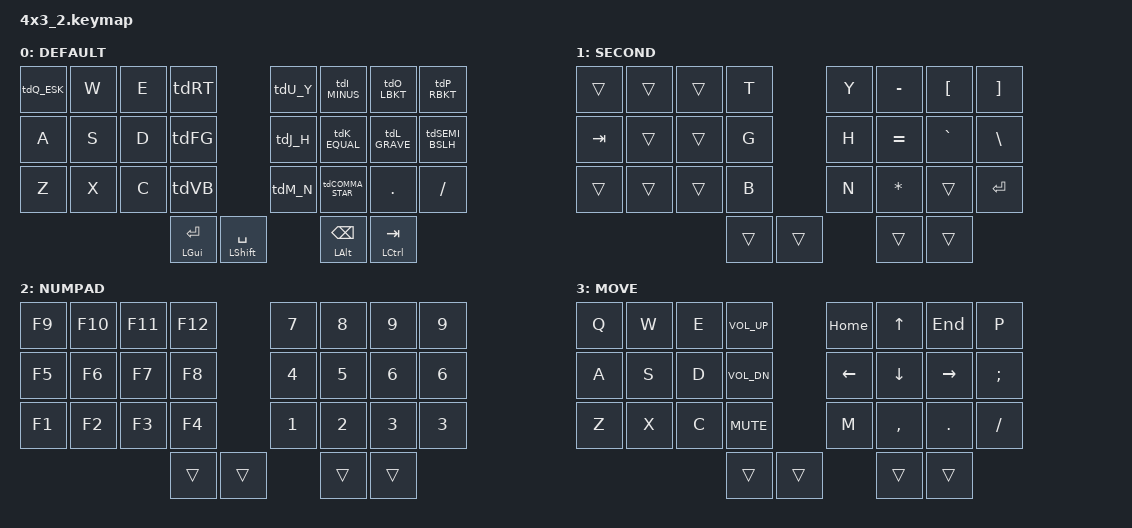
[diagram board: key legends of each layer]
#include <behaviors.dtsi>
#include <dt-bindings/zmk/keys.h>

#define DEFAULT 0
#define SECOND  1
#define NUMPAD  2
#define MOVE    3
#define TAPPING_TERM_MS 250

/ {
    behaviors {
        td0: tap_dance_0 {
            compatible = "zmk,behavior-tap-dance";
            #binding-cells = <0>;
            tapping-term-ms = <TAPPING_TERM_MS>;
            bindings = <&kp J>, <&kp ESCAPE>;
        };
        td1: tap_dance_1 {
            compatible = "zmk,behavior-tap-dance";
            #binding-cells = <0>;
            tapping-term-ms = <TAPPING_TERM_MS>;
            bindings = <&mt LGUI SPACE>, <&lt MOVE SPACE>;
        };
        td2: tap_dance_2 {
            compatible = "zmk,behavior-tap-dance";
            #binding-cells = <0>;
            tapping-term-ms = <TAPPING_TERM_MS>;
            bindings = <&sl SECOND>, <&mo NUMPAD>;
        };
        tdRT: tap_dance_RT {
            #binding-cells = <0>;
            tapping-term-ms = <TAPPING_TERM_MS>;
            compatible = "zmk,behavior-tap-dance";
            bindings = <&kp R>, <&kp T>;
        };
        tdFG: tap_dance_FG {
            #binding-cells = <0>;
            tapping-term-ms = <TAPPING_TERM_MS>;
            compatible = "zmk,behavior-tap-dance";
            bindings = <&lt MOVE F>, <&kp G>;
        };
        tdVB: tap_dance_VB {
            #binding-cells = <0>;
            tapping-term-ms = <TAPPING_TERM_MS>;
            compatible = "zmk,behavior-tap-dance";
            bindings = <&kp V>, <&kp B>;
        };
        tdU_Y: tap_dance_UY {
            #binding-cells = <0>;
            tapping-term-ms = <TAPPING_TERM_MS>;
            compatible = "zmk,behavior-tap-dance";
            bindings = <&kp U>, <&kp Y>;
        };
        tdJ_H: tap_dance_JH {
            #binding-cells = <0>;
            tapping-term-ms = <TAPPING_TERM_MS>;
            compatible = "zmk,behavior-tap-dance";
            bindings = <&kp J>, <&kp H>;
        };
        tdM_N: tap_dance_MN {
            #binding-cells = <0>;
            tapping-term-ms = <TAPPING_TERM_MS>;
            compatible = "zmk,behavior-tap-dance";
            bindings = <&kp M>, <&kp N>;
        };
        tdQ_ESK: tap_dance_QESC {
            #binding-cells = <0>;
            tapping-term-ms = <TAPPING_TERM_MS>;
            compatible = "zmk,behavior-tap-dance";
            bindings = <&kp Q>, <&kp ESC>;
        };
        tdI_MINUS: tap_dance_IMINUS {
            #binding-cells = <0>;
            tapping-term-ms = <TAPPING_TERM_MS>;
            compatible = "zmk,behavior-tap-dance";
            bindings = <&kp I>, <&kp MINUS>;
        };
        tdK_EQUAL: tap_dance_KEQUAL {
            #binding-cells = <0>;
            tapping-term-ms = <TAPPING_TERM_MS>;
            compatible = "zmk,behavior-tap-dance";
            bindings = <&kp K>, <&kp EQUAL>;
        };
        tdCOMMA_STAR: tap_dance_COMMASTART {
            #binding-cells = <0>;
            tapping-term-ms = <TAPPING_TERM_MS>;
            compatible = "zmk,behavior-tap-dance";
            bindings = <&kp COMMA>, <&kp STAR>;
        };
        tdO_LBKT: tap_dance_13 {
            #binding-cells = <0>;
            tapping-term-ms = <TAPPING_TERM_MS>;
            compatible = "zmk,behavior-tap-dance";
            bindings = <&kp O>, <&kp LBKT>;
        };
        tdL_GRAVE: tap_dance_14 {
            #binding-cells = <0>;
            tapping-term-ms = <TAPPING_TERM_MS>;
            compatible = "zmk,behavior-tap-dance";
            bindings = <&kp L>, <&kp GRAVE>;
        };
        tdP_RBKT: tap_dance_15 {
            #binding-cells = <0>;
            tapping-term-ms = <TAPPING_TERM_MS>;
            compatible = "zmk,behavior-tap-dance";
            bindings = <&kp P>, <&kp RBKT>;
        };
        tdSEMI_BSLH: tap_dance_16 {
            #binding-cells = <0>;
            tapping-term-ms = <TAPPING_TERM_MS>;
            compatible = "zmk,behavior-tap-dance";
            bindings = <&kp SEMI>, <&kp BSLH>;
        };


    };
    keymap {
        compatible = "zmk,keymap";

        DEFAULT {

            bindings = <
    &tdQ_ESK  &kp W    &kp E     &tdRT                    &tdU_Y     &tdI_MINUS     &tdO_LBKT   &tdP_RBKT   
    &kp A     &kp S    &kp D     &tdFG                    &tdJ_H     &tdK_EQUAL     &tdL_GRAVE  &tdSEMI_BSLH
    &kp Z     &kp X    &kp C     &tdVB                    &tdM_N     &tdCOMMA_STAR  &kp DOT     &kp FSLH
                                &mt LGUI ENTER   &mt LSHIFT SPACE   &mt LALT BSPC    &mt LCTRL TAB
            >;
        };
        SECOND {

            bindings = <
    &trans    &trans    &trans     &kp T                            &kp Y     &kp MINUS    &kp LBKT   &kp RBKT    
    &kp TAB   &trans    &trans     &kp G                            &kp H     &kp EQUAL    &kp GRAVE  &kp BSLH
    &trans    &trans    &trans     &kp B                            &kp N     &kp STAR     &trans     &kp ENTER
                                   &trans   &trans         &trans   &trans
            >;
        };
        NUMPAD {

            bindings = <
    &kp F9    &kp F10    &kp F11     &kp F12                          &kp N7    &kp N8  &kp N9  &kp N9    
    &kp F5    &kp F6     &kp F7      &kp F8                           &kp N4    &kp N5  &kp N6  &kp N6
    &kp F1    &kp F2     &kp F3      &kp F4                           &kp N1    &kp N2  &kp N3  &kp N3
                                   &trans   &trans         &trans   &trans
            >;
        };
        MOVE {

            bindings = <
    &kp Q    &kp W    &kp E     &kp C_VOL_UP                                  &kp HOME     &kp UP     &kp END     &kp P    
    &kp A    &kp S    &kp D     &kp C_VOL_DN                                  &kp LEFT     &kp DOWN     &kp RIGHT     &kp SEMI
    &kp Z    &kp X    &kp C     &kp C_MUTE                                  &kp M     &kp COMMA &kp DOT   &kp FSLH
                                &trans  &trans        &trans   &trans
            >;
        };
    };
};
